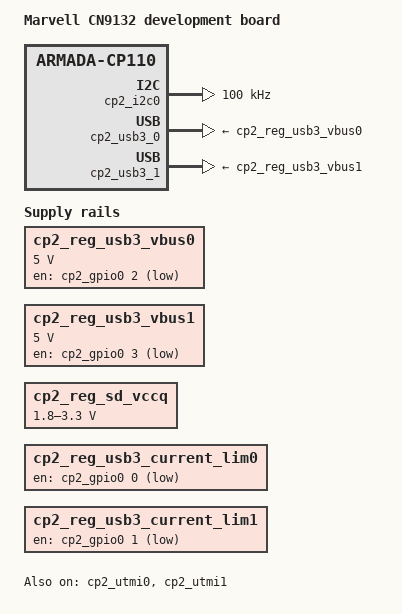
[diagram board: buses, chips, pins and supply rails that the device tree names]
/*
 * Copyright (C) 2018 Marvell International Ltd.
 *
 * SPDX-License-Identifier:    GPL-2.0
 * https://spdx.org/licenses
 */

#undef CP110_NAME
#undef CP110_NUM
#undef CP110_PCIE_MEM_SIZE
#undef CP110_PCIEx_CPU_MEM_BASE
#undef CP110_PCIEx_BUS_MEM_BASE

/* CP110-2 Settings */
#define CP110_NAME			cp2
#define CP110_NUM			2
#define CP110_PCIE_MEM_SIZE(iface)	(0xf00000)
#define CP110_PCIEx_CPU_MEM_BASE(iface)	(0xe5000000 + (iface) *  0x1000000)
#define CP110_PCIEx_BUS_MEM_BASE(iface)	(CP110_PCIEx_CPU_MEM_BASE(iface))

#include "armada-cp110.dtsi"

/ {
	model = "Marvell CN9132 development board";
	compatible = "marvell,cn9132-db";

	aliases {
		gpio5 = &cp2_gpio0;
		gpio6 = &cp2_gpio1;
		fuse7 = &cp2_ld_efuse0;	/* bank 70 RO */
		fuse8 = &cp2_ld_efuse1;	/* bank 71 RW */
	};

	cp2 {
		config-space {
			sdhci@780000 {
				vqmmc-supply = <&cp2_reg_sd_vccq>;
			};
			cp2_reg_usb3_vbus0: cp2_usb3_vbus@0 {
				compatible = "regulator-fixed";
				regulator-name = "cp2-xhci0-vbus";
				regulator-min-microvolt = <5000000>;
				regulator-max-microvolt = <5000000>;
				startup-delay-us = <100000>;
				regulator-force-boot-off;
				gpio = <&cp2_gpio0 2 GPIO_ACTIVE_HIGH>;
			};

			cp2_reg_usb3_vbus1: cp2_usb3_vbus@1 {
				compatible = "regulator-fixed";
				regulator-name = "cp2-xhci1-vbus";
				regulator-min-microvolt = <5000000>;
				regulator-max-microvolt = <5000000>;
				startup-delay-us = <100000>;
				regulator-force-boot-off;
				gpio = <&cp2_gpio0 3 GPIO_ACTIVE_HIGH>;
			};
			cp2_reg_sd_vccq: cp2_sd_vccq@0 {
				compatible = "regulator-gpio";
				regulator-name = "cp2_sd_vcc";
				regulator-min-microvolt = <1800000>;
				regulator-max-microvolt = <3300000>;
				/* cp2_mpp49 */
				gpios = <&cp2_gpio1 17 GPIO_ACTIVE_HIGH>;
				states = <1800000 0x1
					  3300000 0x0>;
			};
			cp2_reg_usb3_current_lim0: cp2_usb3_current_limiter@0 {
				compatible = "regulator-fixed";
				regulator-min-microamp = <900000>;
				regulator-max-microamp = <900000>;
				regulator-force-boot-off;
				gpio = <&cp2_gpio0 0 GPIO_ACTIVE_HIGH>;
			};

			cp2_reg_usb3_current_lim1: cp2_usb3_current_limiter@1 {
				compatible = "regulator-fixed";
				regulator-min-microamp = <900000>;
				regulator-max-microamp = <900000>;
				regulator-force-boot-off;
				gpio = <&cp2_gpio0 1 GPIO_ACTIVE_HIGH>;
			};
		};
	};
};

&cp2_i2c0 {
	pinctrl-names = "default";
	pinctrl-0 = <&cp2_i2c0_pins>;
	status = "okay";
	clock-frequency = <100000>;
};

&cp2_pcie0 {
		/* non-prefetchable memory */
	ranges =<0x82000000 0 0xe5000000 0 0xe5000000 0 0x1000000>;
};

&cp2_pinctl {
	compatible = "marvell,mvebu-pinctrl",
		     "marvell,cp115-standalone-pinctrl";
	bank-name ="cp2-110";

	cp2_i2c0_pins: cp2-i2c-pins-0 {
		marvell,pins = < 37 38 >;
		marvell,function = <2>;
	};
	cp2_sdhci_pins: cp2-sdhi-pins-0 {
		marvell,pins = < 56 57 58 59 60 61 >;
		marvell,function = <14>;
	};
};

&cp2_usb3_0 {
	status = "okay";
	vbus-supply = <&cp2_reg_usb3_vbus0>;
	current-limiter = <&cp2_reg_usb3_current_lim0>;
	vbus-disable-delay = <500>;
};

&cp2_usb3_1 {
	status = "okay";
	vbus-supply = <&cp2_reg_usb3_vbus1>;
	current-limiter = <&cp2_reg_usb3_current_lim1>;
	vbus-disable-delay = <500>;
};

&cp2_utmi0 {
	status = "okay";
};

&cp2_utmi1 {
	status = "okay";
};
